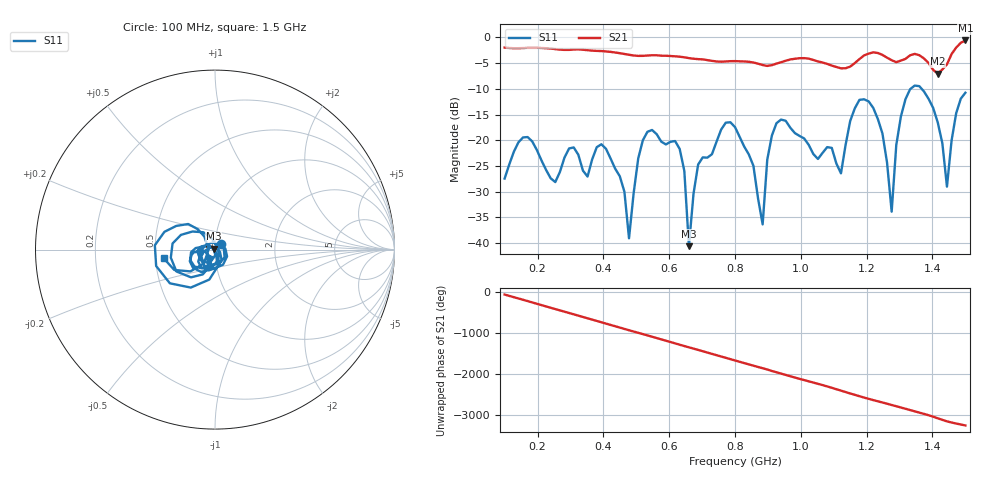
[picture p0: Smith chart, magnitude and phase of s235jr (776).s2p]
! NanoVNA-App
! Date: 2025-09-25 15:10:12
! Start: 100MHz Stop: 1,5GHz Points: 101
! S-Parameter data: F S11 S21 S12 S22
# Hz S RI R 50
!  Frequency  S11_Real  S11_Imag  S21_Real  S21_Imag  S12_Real  S12_Imag  S22_Real  S22_Imag
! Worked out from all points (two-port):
!   101 points, 100 MHz to 1.5 GHz, reference 50 ohm
!   highest |S21| = -0.58 dB at 1.5 GHz (marker M1); lowest = -7.0 dB at 1.416 GHz (marker M2)
!   |S21| within 3 dB of the highest: start of sweep to 505.3 MHz; 513.9 MHz to 596.4 MHz (82.59 MHz wide, 14.9 % of centre) (the widest 2 of 5)
!   lowest |S11| = -40.6 dB at 660 MHz (marker M3), VSWR 1.02, Z = 49.2 + j0.524 ohm
!   |S11| at or under -10 dB: start of sweep to 1.333 GHz; 1.367 GHz to end of sweep
!   S12 and S22 are empty: the file has one direction only
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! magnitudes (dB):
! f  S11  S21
! 100 MHz  -27.5  -2.0
! 156 MHz  -19.5  -2.1
! 338 MHz  -25.9  -2.4
! 408 MHz  -21.7  -2.7
! 478 MHz  -39.1  -3.4
! 520 MHz  -20.0  -3.6
! 576 MHz  -20.3  -3.5
! 632 MHz  -21.7  -3.7
! 660 MHz  -40.6  -4.0
! 688 MHz  -24.7  -4.2
! 800 MHz  -17.4  -4.6
! 884 MHz  -36.4  -5.4
! 926 MHz  -16.7  -5.1
! 1.038 GHz  -22.7  -4.4
! 1.122 GHz  -26.4  -6.0
! 1.206 GHz  -12.4  -3.1
! 1.276 GHz  -33.9  -4.4
! 1.29 GHz  -20.9  -4.8
! 1.332 GHz  -10.1  -3.5
! 1.416 GHz  -16.5  -7.0
! 1.444 GHz  -29.0  -5.2
! 1.5 GHz  -10.8  -0.6
